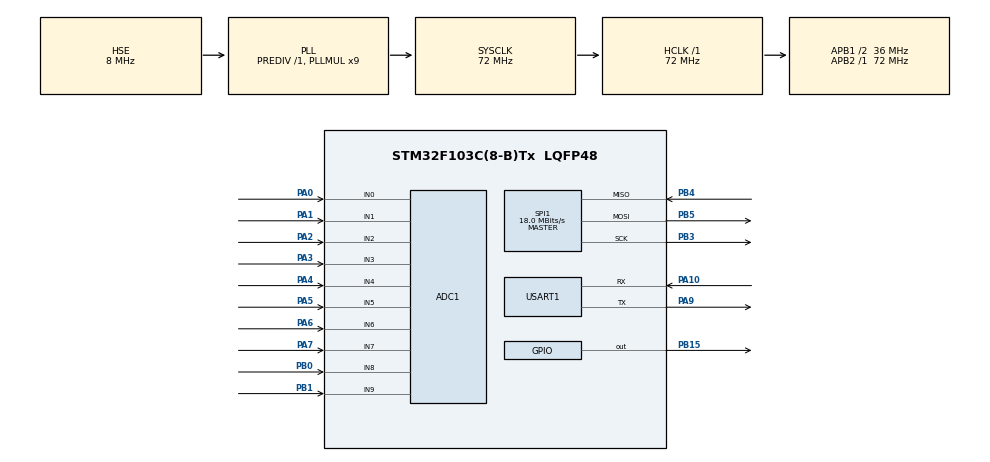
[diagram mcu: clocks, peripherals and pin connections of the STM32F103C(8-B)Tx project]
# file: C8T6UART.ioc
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Mcu.Family=STM32F1
Dma.SPI1_TX.0.MemInc=DMA_MINC_ENABLE
Dma.SPI1_TX.0.PeriphInc=DMA_PINC_DISABLE
Dma.ADC1.1.MemDataAlignment=DMA_MDATAALIGN_WORD
SPI1.VirtualType=VM_MASTER
ADC1.ContinuousConvMode=ENABLE
SH.ADCx_IN2.0=ADC1_IN2,IN2
ADC1.Channel-29\#ChannelRegularConversion=ADC_CHANNEL_2
ADC1.Rank-29\#ChannelRegularConversion=3
ADC1.SamplingTime-33\#ChannelRegularConversion=ADC_SAMPLETIME_1CYCLE_5
PB15.Signal=GPIO_Output
ADC1.SamplingTime-36\#ChannelRegularConversion=ADC_SAMPLETIME_1CYCLE_5
RCC.SYSCLKSource=RCC_SYSCLKSOURCE_PLLCLK
ProjectManager.StackSize=0x400
PD1-OSC_OUT.Signal=RCC_OSC_OUT
NVIC.DMA1_Channel3_IRQn=true\:0\:0\:false\:false\:true\:false\:true
ADC1.SamplingTime-30\#ChannelRegularConversion=ADC_SAMPLETIME_1CYCLE_5
ADC1.Rank-35\#ChannelRegularConversion=9
Dma.ADC1.1.Instance=DMA1_Channel1
SPI1.Direction=SPI_DIRECTION_2LINES
RCC.HCLKFreq_Value=72000000
SH.ADCx_IN3.0=ADC1_IN3,IN3
ADC1.Rank-32\#ChannelRegularConversion=6
RCC.APB2TimFreq_Value=72000000
Dma.ADC1.1.PeriphDataAlignment=DMA_PDATAALIGN_WORD
SPI1.CalculateBaudRate=18.0 MBits/s
ADC1.Rank-33\#ChannelRegularConversion=7
ADC1.Rank-30\#ChannelRegularConversion=4
RCC.AHBFreq_Value=72000000
PB3.Mode=Full_Duplex_Master
RCC.PLLMUL=RCC_PLL_MUL9
PB4.Mode=Full_Duplex_Master
ADC1.SamplingTime-31\#ChannelRegularConversion=ADC_SAMPLETIME_1CYCLE_5
PB5.Mode=Full_Duplex_Master
SPI1.DataSize=SPI_DATASIZE_16BIT
Dma.ADC1.1.Priority=DMA_PRIORITY_LOW
SH.ADCx_IN8.0=ADC1_IN8,IN8
Dma.ADC1.1.Mode=DMA_CIRCULAR
SH.ADCx_IN0.0=ADC1_IN0,IN0
ADC1.SamplingTime-35\#ChannelRegularConversion=ADC_SAMPLETIME_1CYCLE_5
ADC1.Rank-27\#ChannelRegularConversion=1
ADC1.Channel-27\#ChannelRegularConversion=ADC_CHANNEL_0
Dma.SPI1_TX.0.Mode=DMA_NORMAL
Mcu.Package=LQFP48
PB1.Signal=ADCx_IN9
PA6.Signal=ADCx_IN6
ADC1.SamplingTime-27\#ChannelRegularConversion=ADC_SAMPLETIME_1CYCLE_5
ADC1.Channel-35\#ChannelRegularConversion=ADC_CHANNEL_8
Dma.ADC1.1.Direction=DMA_PERIPH_TO_MEMORY
ADC1.SamplingTime-29\#ChannelRegularConversion=ADC_SAMPLETIME_1CYCLE_5
Dma.ADC1.1.MemInc=DMA_MINC_ENABLE
PA10.Signal=USART1_RX
SH.ADCx_IN9.0=ADC1_IN9,IN9
ADC1.Channel-33\#ChannelRegularConversion=ADC_CHANNEL_6
SH.ADCx_IN1.0=ADC1_IN1,IN1
Dma.Request1=ADC1
RCC.APB1TimFreq_Value=72000000
ADC1.Channel-31\#ChannelRegularConversion=ADC_CHANNEL_4
Dma.Request0=SPI1_TX
SPI1.BaudRatePrescaler=SPI_BAUDRATEPRESCALER_4
PB4.Signal=SPI1_MISO
PA3.Signal=ADCx_IN3
RCC.PLLSourceVirtual=RCC_PLLSOURCE_HSE
PD1-OSC_OUT.Mode=HSE-External-Oscillator
PA10.Mode=Asynchronous
SH.ADCx_IN6.0=ADC1_IN6,IN6
ADC1.SamplingTime-28\#ChannelRegularConversion=ADC_SAMPLETIME_1CYCLE_5
ADC1.Channel-34\#ChannelRegularConversion=ADC_CHANNEL_7
PD0-OSC_IN.Signal=RCC_OSC_IN
RCC.APB1CLKDivider=RCC_HCLK_DIV2
VP_SYS_VS_ND.Mode=No_Debug
PA0-WKUP.Signal=ADCx_IN0
RCC.ADCPresc=RCC_ADCPCLK2_DIV6
PA9.Mode=Asynchronous
ADC1.SamplingTime-32\#ChannelRegularConversion=ADC_SAMPLETIME_1CYCLE_5
ProjectManager.TargetToolchain=MDK-ARM V5.27
SH.ADCx_IN7.0=ADC1_IN7,IN7
Dma.SPI1_TX.0.PeriphDataAlignment=DMA_PDATAALIGN_HALFWORD
Dma.SPI1_TX.0.Direction=DMA_MEMORY_TO_PERIPH
PA9.Signal=USART1_TX
ADC1.Rank-31\#ChannelRegularConversion=5
RCC.USBFreq_Value=72000000
ADC1.Rank-34\#ChannelRegularConversion=8
PA1.Signal=ADCx_IN1
PD0-OSC_IN.Mode=HSE-External-Oscillator
PA5.Signal=ADCx_IN5
board=custom
ADC1.Channel-36\#ChannelRegularConversion=ADC_CHANNEL_9
RCC.APB2Freq_Value=72000000
SPI1.Mode=SPI_MODE_MASTER
PB15.GPIO_Speed=GPIO_SPEED_FREQ_HIGH
ADC1.Rank-36\#ChannelRegularConversion=10
SH.ADCx_IN4.0=ADC1_IN4,IN4
Dma.SPI1_TX.0.Instance=DMA1_Channel3
Dma.ADC1.1.PeriphInc=DMA_PINC_DISABLE
ADC1.NbrOfConversion=10
ADC1.SamplingTime-34\#ChannelRegularConversion=ADC_SAMPLETIME_1CYCLE_5
Mcu.Name=STM32F103C(8-B)Tx
ADC1.Channel-28\#ChannelRegularConversion=ADC_CHANNEL_1
PA2.Signal=ADCx_IN2
PB3.Signal=SPI1_SCK
PA4.Signal=ADCx_IN4
RCC.SYSCLKFreq_VALUE=72000000
PB5.Signal=SPI1_MOSI
ADC1.Rank-28\#ChannelRegularConversion=2
ADC1.master=1
USART1.VirtualMode=VM_ASYNC
ProjectManager.HeapSize=0x200
Dma.SPI1_TX.0.MemDataAlignment=DMA_MDATAALIGN_HALFWORD
Dma.SPI1_TX.0.Priority=DMA_PRIORITY_LOW
SH.ADCx_IN5.0=ADC1_IN5,IN5
NVIC.PriorityGroup=NVIC_PRIORITYGROUP_4
ADC1.NbrOfConversionFlag=1
NVIC.DMA1_Channel1_IRQn=true\:0\:0\:false\:false\:true\:false\:true
RCC.APB1Freq_Value=36000000
ADC1.Channel-32\#ChannelRegularConversion=ADC_CHANNEL_5
PB0.Signal=ADCx_IN8
PA7.Signal=ADCx_IN7
ADC1.Channel-30\#ChannelRegularConversion=ADC_CHANNEL_3

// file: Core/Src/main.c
/* USER CODE BEGIN Header */
/**
  ******************************************************************************
  * @file           : main.c
  * @brief          : Main program body
  ******************************************************************************
  * @attention
  *
  * <h2><center>&copy; Copyright (c) 2020 STMicroelectronics.
  * All rights reserved.</center></h2>
  *
  * This software component is licensed by ST under BSD 3-Clause license,
  * the "License"; You may not use this file except in compliance with the
  * License. You may obtain a copy of the License at:
  *                        opensource.org/licenses/BSD-3-Clause
  *
  ******************************************************************************
  */
/* USER CODE END Header */
#include "main.h"
#include "adc.h"
#include "dma.h"
#include "spi.h"
#include "usart.h"
#include "gpio.h"

/* USER CODE BEGIN Includes */
#include "stdio.h"
#include "bsp_dht21.h"
/* USER CODE END Includes */

/* USER CODE BEGIN PV */
//#define ADC_CHANNEL_CNT 10 	//采样通道数
//#define ADC_CHANNEL_FRE 1	//单个通道采样次数，用来取平均值
//uint16_t adc1_val_buf[10]; //传递给DMA存放多通道采样值的数组
//uint16_t i,j;
//uint32_t adc1_aver_val[ADC_CHANNEL_CNT] = {0}; //保存多通道的平均采样值的数组
//uint32_t dma_cnt1 = 0;

uint32_t ADC_Value[1000];
uint8_t ADC_Convert_Value[20];
uint16_t i;
uint32_t ad1,ad2;
uint32_t  ad3,ad4;
uint32_t ad10,ad5,ad6,ad7,ad8,ad9;

/* USER CODE END PV */

void SystemClock_Config(void);

/* USER CODE BEGIN 0 */
int fputc(int ch, FILE *f){
	uint8_t temp[1] = {ch};
	HAL_UART_Transmit(&huart1, temp, 1, 2);
	return ch;
}

#define Log 1
#define USER_MAIN_DEBUG 1

#ifdef USER_MAIN_DEBUG
#define user_main_printf(format, ...) printf( format "\r\n", ##__VA_ARGS__)
#define user_main_info(format, ...) printf("[\tmain]info:" format "\r\n", ##__VA_ARGS__)
#define user_main_debug(format, ...) printf("[\tmain]debug:" format "\r\n", ##__VA_ARGS__)
#define user_main_error(format, ...) printf("[\tmain]error:" format "\r\n",##__VA_ARGS__)
#else
#define user_main_printf(format, ...)
#define user_main_info(format, ...)
#define user_main_debug(format, ...)
#define user_main_error(format, ...)
#endif
/* USER CODE END 0 */

int main(void)
{
  /* USER CODE BEGIN 1 */
//	uint16_t AD_Value,AD_Value_get;

//	uint8_t ADC_Convert_array[2];
//	uint8_t AM_OnlineFlag;

  /* USER CODE END 1 */

  /* MCU Configuration--------------------------------------------------------*/

  /* Reset of all peripherals, Initializes the Flash interface and the Systick. */
  HAL_Init();

  /* USER CODE BEGIN Init */
//			HAL_Delay(500);

  /* USER CODE END Init */

  /* Configure the system clock */
  SystemClock_Config();

  /* USER CODE BEGIN SysInit */
//		HAL_Delay(500);
//		for(i = 0,ad1 =0,ad2=0,ad3=0,ad4=0; i < 1000;){
//		ad1 += ADC_Value[i++];
//		ad2 += ADC_Value[i++];
//		ad3 += ADC_Value[i++];
//		ad4 += ADC_Value[i++];
//		}
//		ad1 /= 250;
//		ad2 /= 250;
//		ad3 /= 250;
//		ad4 /= 250;
//		printf("\r\n********ADC-DMA-Example********\r\n");
//		printf("[\tmain]info:AD1_value=%1.3fV\r\n", ad1*3.3f/4095);
//		printf("[\tmain]info:AD2_value=%1.3fV\r\n", ad2*3.3f/4095);
//		printf("[\tmain]info:AD3_value=%1.3fV\r\n", ad3*3.3f/4095);
//		printf("[\tmain]info:AD4_value=%1.3fV\r\n\n", ad4*3.3f/4095);
//
  /* USER CODE END SysInit */

  /* Initialize all configured peripherals */
  MX_GPIO_Init();
  MX_DMA_Init();
  MX_USART1_UART_Init();
  MX_ADC1_Init();
  MX_SPI1_Init();
  /* USER CODE BEGIN 2 */
			printf("\r\n********ADC-DMA-Example********\r\n");

//	HAL_ADC_Start_DMA(&hadc1,(uint32_t*) &adc1_val_buf, (ADC_CHANNEL_CNT*ADC_CHANNEL_FRE));
//	HAL_Delay(100);
//
	 HAL_ADC_Start_DMA(&hadc1, (uint32_t*)&ADC_Value, 1000);
  /* USER CODE END 2 */

  /* Infinite loop */
  /* USER CODE BEGIN WHILE */
  while (1)
  {
		HAL_Delay(500);

		for(i = 0,ad1 =0,ad2=0,ad3=0,ad4=0; i < 1000;){
		ad1 += ADC_Value[i++];
		ad2 += ADC_Value[i++];
		ad3 += ADC_Value[i++];
		ad4 += ADC_Value[i++];
		ad5 += ADC_Value[i++];
		ad6 += ADC_Value[i++];
		ad7 += ADC_Value[i++];
		ad8 += ADC_Value[i++];
		ad9 += ADC_Value[i++];
		ad10 += ADC_Value[i++];
		}
		ad1 /= 100;
		ad2 /= 100;
		ad3 /= 100;
		ad4 /= 100;
		ad5 /= 100;
		ad6 /= 100;
		ad7 /= 100;
		ad8 /= 100;
		ad9 /= 100;
		ad10 /= 100;
// uint8_t ADC_Convert_Value[10];

		ADC_Convert_Value[1]=(ad1>>8) & 0x0f;//high
  	ADC_Convert_Value[0]=ad1&0xff; //low

		ADC_Convert_Value[3]=(ad2>>8) & 0x0f;//high
  	ADC_Convert_Value[2]=ad2&0xff; //low

		ADC_Convert_Value[5]=(ad3>>8) & 0x0f;//high
  	ADC_Convert_Value[4]=ad3&0xff; //low

		ADC_Convert_Value[7]=(ad4>>8) & 0x0f;//high
  	ADC_Convert_Value[6]=ad4&0xff; //low

		ADC_Convert_Value[9]=(ad5>>8) & 0x0f;//high
  	ADC_Convert_Value[8]=ad5&0xff; //low

		ADC_Convert_Value[11]=(ad6>>8) & 0x0f;//high
  	ADC_Convert_Value[10]=ad6&0xff; //low

		ADC_Convert_Value[13]=(ad7>>8) & 0x0f;//high
  	ADC_Convert_Value[12]=ad7&0xff; //low

		ADC_Convert_Value[15]=(ad8>>8) & 0x0f;//high
  	ADC_Convert_Value[14]=ad8&0xff; //low

		ADC_Convert_Value[17]=(ad9>>8) & 0x0f;//high
  	ADC_Convert_Value[16]=ad9&0xff; //low

		ADC_Convert_Value[19]=(ad10>>8) & 0x0f;//high
  	ADC_Convert_Value[18]=ad10&0xff; //low

		 HAL_SPI_Transmit_DMA (&hspi1, ADC_Convert_Value, 1);
//		printf("\r\n********ADC-DMA-Example********\r\n");
//		printf("[\tmain]info:AD1_value=%1.3fV\r\n", ad1*3.3f/4095);
//		printf("[\tmain]info:AD2_value=%1.3fV\r\n", ad2*3.3f/4095);
//		printf("[\tmain]info:AD3_value=%1.3fV\r\n", ad3*3.3f/4095);
//		printf("[\tmain]info:AD4_value=%1.3fV\r\n", ad4*3.3f/4095);
//		printf("[\tmain]info:AD5_value=%1.3fV\r\n", ad5*3.3f/4095);
//		printf("[\tmain]info:AD6_value=%1.3fV\r\n", ad6*3.3f/4095);
//		printf("[\tmain]info:AD7_value=%1.3fV\r\n", ad7*3.3f/4095);
//		printf("[\tmain]info:AD8_value=%1.3fV\r\n", ad8*3.3f/4095);
//		printf("[\tmain]info:AD9_value=%1.3fV\r\n", ad9*3.3f/4095);
//		printf("[\tmain]info:AD10_value=%1.3fV\r\n\n", ad10*3.3f/4095);

    /* USER CODE END WHILE */

  }
}

void SystemClock_Config(void)
{
  RCC_OscInitTypeDef RCC_OscInitStruct = {0};
  RCC_ClkInitTypeDef RCC_ClkInitStruct = {0};
  RCC_PeriphCLKInitTypeDef PeriphClkInit = {0};

  /** Initializes the RCC Oscillators according to the specified parameters
  * in the RCC_OscInitTypeDef structure.
  */
  RCC_OscInitStruct.OscillatorType = RCC_OSCILLATORTYPE_HSE;
  RCC_OscInitStruct.HSEState = RCC_HSE_ON;
  RCC_OscInitStruct.HSEPredivValue = RCC_HSE_PREDIV_DIV1;
  RCC_OscInitStruct.HSIState = RCC_HSI_ON;
  RCC_OscInitStruct.PLL.PLLState = RCC_PLL_ON;
  RCC_OscInitStruct.PLL.PLLSource = RCC_PLLSOURCE_HSE;
  RCC_OscInitStruct.PLL.PLLMUL = RCC_PLL_MUL9;
  if (HAL_RCC_OscConfig(&RCC_OscInitStruct) != HAL_OK)
  {
    Error_Handler();
  }
  /** Initializes the CPU, AHB and APB buses clocks
  */
  RCC_ClkInitStruct.ClockType = RCC_CLOCKTYPE_HCLK|RCC_CLOCKTYPE_SYSCLK
                              |RCC_CLOCKTYPE_PCLK1|RCC_CLOCKTYPE_PCLK2;
  RCC_ClkInitStruct.SYSCLKSource = RCC_SYSCLKSOURCE_PLLCLK;
  RCC_ClkInitStruct.AHBCLKDivider = RCC_SYSCLK_DIV1;
  RCC_ClkInitStruct.APB1CLKDivider = RCC_HCLK_DIV2;
  RCC_ClkInitStruct.APB2CLKDivider = RCC_HCLK_DIV1;

  if (HAL_RCC_ClockConfig(&RCC_ClkInitStruct, FLASH_LATENCY_2) != HAL_OK)
  {
    Error_Handler();
  }
  PeriphClkInit.PeriphClockSelection = RCC_PERIPHCLK_ADC;
  PeriphClkInit.AdcClockSelection = RCC_ADCPCLK2_DIV6;
  if (HAL_RCCEx_PeriphCLKConfig(&PeriphClkInit) != HAL_OK)
  {
    Error_Handler();
  }
}

/* USER CODE BEGIN 4 */
//void HAL_ADC_ConvCpltCallback(ADC_HandleTypeDef* hadc)
//{
//	if(hadc==(&hadc1))
//	{
//		dma_cnt1++;
//	}
//}
/* USER CODE END 4 */

void Error_Handler(void)
{
}

/************************ (C) COPYRIGHT STMicroelectronics *****END OF FILE****/
